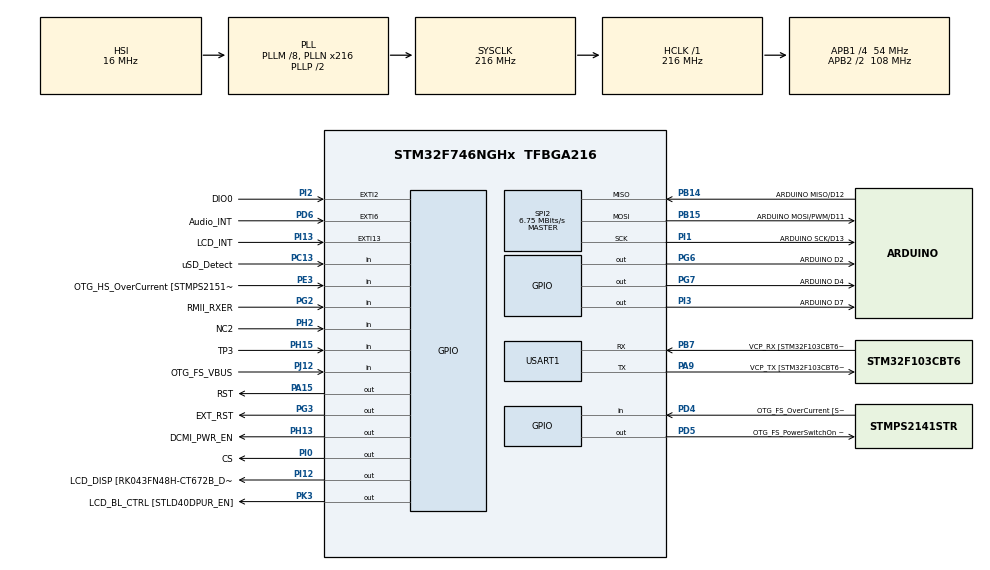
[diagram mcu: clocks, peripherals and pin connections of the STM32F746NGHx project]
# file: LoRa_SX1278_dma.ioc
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Dma.Request0=SPI2_RX
Dma.Request1=SPI2_TX
Dma.SPI2_RX.0.Direction=DMA_PERIPH_TO_MEMORY
Dma.SPI2_RX.0.FIFOMode=DMA_FIFOMODE_DISABLE
Dma.SPI2_RX.0.Instance=DMA1_Stream3
Dma.SPI2_RX.0.MemDataAlignment=DMA_MDATAALIGN_BYTE
Dma.SPI2_RX.0.MemInc=DMA_MINC_ENABLE
Dma.SPI2_RX.0.Mode=DMA_NORMAL
Dma.SPI2_RX.0.PeriphDataAlignment=DMA_PDATAALIGN_BYTE
Dma.SPI2_RX.0.PeriphInc=DMA_PINC_DISABLE
Dma.SPI2_RX.0.Priority=DMA_PRIORITY_LOW
Dma.SPI2_TX.1.Direction=DMA_MEMORY_TO_PERIPH
Dma.SPI2_TX.1.FIFOMode=DMA_FIFOMODE_DISABLE
Dma.SPI2_TX.1.Instance=DMA1_Stream4
Dma.SPI2_TX.1.MemDataAlignment=DMA_MDATAALIGN_BYTE
Dma.SPI2_TX.1.MemInc=DMA_MINC_ENABLE
Dma.SPI2_TX.1.Mode=DMA_NORMAL
Dma.SPI2_TX.1.PeriphDataAlignment=DMA_PDATAALIGN_BYTE
Dma.SPI2_TX.1.PeriphInc=DMA_PINC_DISABLE
Dma.SPI2_TX.1.Priority=DMA_PRIORITY_LOW
Mcu.Family=STM32F7
Mcu.Name=STM32F746NGHx
Mcu.Package=TFBGA216
NVIC.DMA1_Stream3_IRQn=true\:0\:0\:false\:false\:true\:false\:true\:true
NVIC.DMA1_Stream4_IRQn=true\:0\:0\:false\:false\:true\:false\:true\:true
NVIC.EXTI2_IRQn=true\:0\:0\:false\:false\:true\:true\:true\:true
NVIC.PriorityGroup=NVIC_PRIORITYGROUP_4
NVIC.SPI2_IRQn=true\:0\:0\:false\:false\:true\:true\:true\:true
PA0/WKUP.GPIO_Label=ARDUINO A0
PA0/WKUP.GPIO_Mode=GPIO_MODE_ANALOG
PA0/WKUP.GPIO_PuPd=GPIO_NOPULL
PA0/WKUP.Signal=ADCx_IN0
PA1.GPIO_Label=RMII_REF_CLK [LAN8742A-CZ-TR_REFCLK0]
PA1.Signal=ETH_REF_CLK
PA10.GPIO_Label=OTG_FS_ID
PA10.Signal=USB_OTG_FS_ID
PA11.GPIO_Label=OTG_FS_N
PA11.Signal=USB_OTG_FS_DM
PA12.GPIO_Label=OTG_FS_P
PA12.Signal=USB_OTG_FS_DP
PA13.GPIO_Label=SWDIO
PA13.Mode=Serial_Wire
PA13.Signal=SYS_JTMS-SWDIO
PA14.GPIO_Label=SWCLK
PA14.Mode=Serial_Wire
PA14.Signal=SYS_JTCK-SWCLK
PA15.GPIO_Label=RST
PA15.PinState=GPIO_PIN_SET
PA15.Signal=GPIO_Output
PA2.GPIO_Label=RMII_MDIO [LAN8742A-CZ-TR_MDIO]
PA2.Signal=ETH_MDIO
PA3.GPIO_Label=ULPI_D0 [USB3320C-EZK_D0]
PA3.Signal=USB_OTG_HS_ULPI_D0
PA4.GPIO_Label=DCMI_HSYNC
PA4.Signal=DCMI_HSYNC
PA5.GPIO_Label=ULPI_CLK [USB3320C-EZK_CLKOUT]
PA5.Signal=USB_OTG_HS_ULPI_CK
PA6.Signal=DCMI_PIXCLK
PA7.GPIO_Label=RMII_CRS_DV [LAN8742A-CZ-TR_CRS_DV]
PA7.Signal=ETH_CRS_DV
PA8.GPIO_Label=ARDUINO PWM/D10
PA8.GPIO_ModeDefaultPP=GPIO_MODE_AF_PP
PA8.GPIO_PuPd=GPIO_NOPULL
PA8.GPIO_Speed=GPIO_SPEED_FREQ_LOW
PA8.Signal=S_TIM1_CH1
PA9.GPIO_Label=VCP_TX [STM32F103CBT6_PA3]
PA9.GPIO_Mode=GPIO_MODE_AF_PP
PA9.GPIO_PuPd=GPIO_NOPULL
PA9.GPIO_Speed=GPIO_SPEED_FREQ_LOW
PA9.Mode=Asynchronous
PA9.Signal=USART1_TX
PB0.GPIO_Label=ULPI_D1 [USB3320C-EZK_D1]
PB0.Signal=USB_OTG_HS_ULPI_D1
PB1.GPIO_Label=ULPI_D2 [USB3320C-EZK_D2]
PB1.Signal=USB_OTG_HS_ULPI_D2
PB10.GPIO_Label=ULPI_D3 [USB3320C-EZK_D3]
PB10.Signal=USB_OTG_HS_ULPI_D3
PB11.GPIO_Label=ULPI_D4 [USB3320C-EZK_D4]
PB11.Signal=USB_OTG_HS_ULPI_D4
PB12.GPIO_Label=ULPI_D5 [USB3320C-EZK_D5]
PB12.Signal=USB_OTG_HS_ULPI_D5
PB13.GPIO_Label=ULPI_D6 [USB3320C-EZK_D6]
PB13.Signal=USB_OTG_HS_ULPI_D6
PB14.GPIO_Label=ARDUINO MISO/D12
PB14.GPIO_Mode=GPIO_MODE_AF_PP
PB14.GPIO_PuPd=GPIO_NOPULL
PB14.GPIO_Speed=GPIO_SPEED_FREQ_LOW
PB14.Mode=Full_Duplex_Master
PB14.Signal=SPI2_MISO
PB15.GPIO_Label=ARDUINO MOSI/PWM/D11
PB15.GPIO_Mode=GPIO_MODE_AF_PP
PB15.GPIO_PuPd=GPIO_NOPULL
PB15.GPIO_Speed=GPIO_SPEED_FREQ_LOW
PB15.Mode=Full_Duplex_Master
PB15.Signal=SPI2_MOSI
PB2.Signal=QUADSPI_CLK
PB3.GPIO_Label=SWO
PB3.Signal=SYS_JTDO-SWO
PB4.GPIO_Label=ARDUINO PWM/D3
PB4.GPIO_ModeDefaultPP=GPIO_MODE_AF_PP
PB4.GPIO_PuPd=GPIO_NOPULL
PB4.GPIO_Speed=GPIO_SPEED_FREQ_LOW
PB4.Signal=S_TIM3_CH1
PB5.GPIO_Label=ULPI_D7 [USB3320C-EZK_D7]
PB5.Signal=USB_OTG_HS_ULPI_D7
PB6.GPIO_Label=QSPI_NCS [N25Q128A13EF840E_S]
PB6.Signal=QUADSPI_BK1_NCS
PB7.GPIO_Label=VCP_RX [STM32F103CBT6_PA2]
PB7.GPIO_Mode=GPIO_MODE_AF_PP
PB7.GPIO_PuPd=GPIO_NOPULL
PB7.GPIO_Speed=GPIO_SPEED_FREQ_LOW
PB7.Mode=Asynchronous
PB7.Signal=USART1_RX
PB8.GPIO_Label=ARDUINO SCL/D15
PB8.GPIO_Mode=GPIO_MODE_AF_OD
PB8.GPIO_PuPd=GPIO_NOPULL
PB8.GPIO_Speed=GPIO_SPEED_FREQ_LOW
PB8.Signal=I2C1_SCL
PB9.GPIO_Label=ARDUINO SDA/D14
PB9.GPIO_Mode=GPIO_MODE_AF_OD
PB9.GPIO_PuPd=GPIO_NOPULL
PB9.GPIO_Speed=GPIO_SPEED_FREQ_LOW
PB9.Signal=I2C1_SDA
PC0.GPIO_Label=ULPI_STP [USB3320C-EZK_STP]
PC0.Signal=USB_OTG_HS_ULPI_STP
PC1.GPIO_Label=RMII_MDC [LAN8742A-CZ-TR_MDC]
PC1.Signal=ETH_MDC
PC10.GPIO_Label=SDMMC_D2
PC10.Signal=SDMMC1_D2
PC11.GPIO_Label=SDMMC_D3
PC11.Signal=SDMMC1_D3
PC12.GPIO_Label=SDMMC_CK
PC12.Signal=SDMMC1_CK
PC13.GPIO_Label=uSD_Detect
PC13.Signal=GPIO_Input
PC14/OSC32_IN.GPIO_Label=RCC_OSC32_IN
PC14/OSC32_IN.Mode=LSE-External-Oscillator
PC14/OSC32_IN.Signal=RCC_OSC32_IN
PC15/OSC32_OUT.GPIO_Label=RCC_OSC32_OUT
PC15/OSC32_OUT.Mode=LSE-External-Oscillator
PC15/OSC32_OUT.Signal=RCC_OSC32_OUT
PC2.GPIO_Label=ULPI_DIR [USB3320C-EZK_DIR]
PC2.Signal=USB_OTG_HS_ULPI_DIR
PC3.GPIO_Label=FMC_SDCKE0 [MT48LC4M32B2B5-6A_CKE]
PC3.Signal=FMC_SDCKE0
PC4.GPIO_Label=RMII_RXD0 [LAN8742A-CZ-TR_RXD0]
PC4.Signal=ETH_RXD0
PC5.GPIO_Label=RMII_RXD1 [LAN8742A-CZ-TR_RXD1]
PC5.Signal=ETH_RXD1
PC6.GPIO_Label=ARDUINO TX/D1
PC6.Signal=USART6_TX
PC7.GPIO_Label=ARDUINO RX/D0
PC7.Signal=USART6_RX
PC8.Signal=SDMMC1_D0
PC9.Signal=SDMMC1_D1
PD0.GPIO_Label=FMC_D2 [MT48LC4M32B2B5-6A_DQ2]
PD0.Signal=FMC_D2_DA2
PD1.GPIO_Label=FMC_D3 [MT48LC4M32B2B5-6A_DQ3]
PD1.Signal=FMC_D3_DA3
PD10.GPIO_Label=FMC_D15 [MT48LC4M32B2B5-6A_DQ15]
PD10.Signal=FMC_D15_DA15
PD11.GPIO_Label=QSPI_D0 [N25Q128A13EF840E_DQ0]
PD11.Signal=QUADSPI_BK1_IO0
PD12.GPIO_Label=QSPI_D1 [N25Q128A13EF840E_DQ1]
PD12.Signal=QUADSPI_BK1_IO1
PD13.GPIO_Label=QSPI_D3 [N25Q128A13EF840E_DQ3]
PD13.Signal=QUADSPI_BK1_IO3
PD14.GPIO_Label=FMC_D0 [MT48LC4M32B2B5-6A_DQ0]
PD14.Signal=FMC_D0_DA0
PD15.GPIO_Label=FMC_D1 [MT48LC4M32B2B5-6A_DQ1]
PD15.Signal=FMC_D1_DA1
PD2.GPIO_Label=SDMMC_D0
PD2.Signal=SDMMC1_CMD
PD3.GPIO_Label=DCMI_D5
PD3.Signal=DCMI_D5
PD4.GPIO_Label=OTG_FS_OverCurrent [STMPS2141STR_Fault]
PD4.Signal=GPIO_Input
PD5.GPIO_Label=OTG_FS_PowerSwitchOn [STMPS2141STR_EN]
PD5.PinState=GPIO_PIN_SET
PD5.Signal=GPIO_Output
PD6.GPIO_Label=Audio_INT
PD6.GPIO_ModeDefaultEXTI=GPIO_MODE_EVT_RISING
PD6.Signal=GPXTI6
PD7.GPIO_Label=SPDIF_RX0 [74LVC1G04SE_4]
PD7.Signal=SPDIFRX_IN0
PD8.GPIO_Label=FMC_D13 [MT48LC4M32B2B5-6A_DQ13]
PD8.Signal=FMC_D13_DA13
PD9.GPIO_Label=FMC_D14 [MT48LC4M32B2B5-6A_DQ14]
PD9.Signal=FMC_D14_DA14
PE0.GPIO_Label=FMC_NBL0 [MT48LC4M32B2B5-6A_DQM0]
PE0.Signal=FMC_NBL0
PE1.GPIO_Label=FMC_NBL1 [MT48LC4M32B2B5-6A_DQM1]
PE1.Signal=FMC_NBL1
PE10.GPIO_Label=FMC_D7 [MT48LC4M32B2B5-6A_DQ7]
PE10.Signal=FMC_D7_DA7
PE11.GPIO_Label=FMC_D8 [MT48LC4M32B2B5-6A_DQ8]
PE11.Signal=FMC_D8_DA8
PE12.GPIO_Label=FMC_D9 [MT48LC4M32B2B5-6A_DQ9]
PE12.Signal=FMC_D9_DA9
PE13.GPIO_Label=FMC_D10 [MT48LC4M32B2B5-6A_DQ10]
PE13.Signal=FMC_D10_DA10
PE14.GPIO_Label=FMC_D11 [MT48LC4M32B2B5-6A_DQ11]
PE14.Signal=FMC_D11_DA11
PE15.GPIO_Label=FMC_D12 [MT48LC4M32B2B5-6A_DQ12]
PE15.Signal=FMC_D12_DA12
PE2.GPIO_Label=QSPI_D2 [N25Q128A13EF840E_DQ2]
PE2.Signal=QUADSPI_BK1_IO2
PE3.GPIO_Label=OTG_HS_OverCurrent [STMPS2151STR_FAULT]
PE3.Signal=GPIO_Input
PE4.GPIO_Label=LCD_B0 [RK043FN48H-CT672B_B0]
PE4.Signal=LTDC_B0
PE5.GPIO_Label=DCMI_D6
PE5.Signal=DCMI_D6
PE6.GPIO_Label=DCMI_D7
PE6.Signal=DCMI_D7
PE7.GPIO_Label=FMC_D4 [MT48LC4M32B2B5-6A_DQ4]
PE7.Signal=FMC_D4_DA4
PE8.GPIO_Label=FMC_D5 [MT48LC4M32B2B5-6A_DQ5]
PE8.Signal=FMC_D5_DA5
PE9.GPIO_Label=FMC_D6 [MT48LC4M32B2B5-6A_DQ6]
PE9.Signal=FMC_D6_DA6
PF0.GPIO_Label=FMC_A0 [MT48LC4M32B2B5-6A_A0]
PF0.Signal=FMC_A0
PF1.GPIO_Label=FMC_A1 [MT48LC4M32B2B5-6A_A1]
PF1.Signal=FMC_A1
PF10.GPIO_Label=ARDUINO A1
PF10.GPIO_Mode=GPIO_MODE_ANALOG
PF10.GPIO_PuPd=GPIO_NOPULL
PF10.Signal=ADC3_IN8
PF11.GPIO_Label=FMC_SDNRAS [MT48LC4M32B2B5-6A_RAS]
PF11.Signal=FMC_SDNRAS
PF12.GPIO_Label=FMC_A6 [MT48LC4M32B2B5-6A_A6]
PF12.Signal=FMC_A6
PF13.GPIO_Label=FMC_A7 [MT48LC4M32B2B5-6A_A7]
PF13.Signal=FMC_A7
PF14.GPIO_Label=FMC_A8 [MT48LC4M32B2B5-6A_A8]
PF14.Signal=FMC_A8
PF15.GPIO_Label=FMC_A9 [MT48LC4M32B2B5-6A_A9]
PF15.Signal=FMC_A9
PF2.GPIO_Label=FMC_A2 [MT48LC4M32B2B5-6A_A2]
PF2.Signal=FMC_A2
PF3.GPIO_Label=FMC_A3 [MT48LC4M32B2B5-6A_A3]
PF3.Signal=FMC_A3
PF4.GPIO_Label=FMC_A4 [MT48LC4M32B2B5-6A_A4]
PF4.Signal=FMC_A4
PF5.GPIO_Label=FMC_A5 [MT48LC4M32B2B5-6A_A5]
PF5.Signal=FMC_A5
PF6.GPIO_Label=ARDUINO A5
PF6.GPIO_Mode=GPIO_MODE_ANALOG
PF6.GPIO_PuPd=GPIO_NOPULL
PF6.Signal=ADC3_IN4
PF7.GPIO_Label=ARDUINO A4
PF7.GPIO_Mode=GPIO_MODE_ANALOG
PF7.GPIO_PuPd=GPIO_NOPULL
PF7.Signal=ADC3_IN5
PF8.GPIO_Label=ARDUINO A3
PF8.GPIO_Mode=GPIO_MODE_ANALOG
PF8.GPIO_PuPd=GPIO_NOPULL
PF8.Signal=ADC3_IN6
PF9.GPIO_Label=ARDUINO A2
PF9.GPIO_Mode=GPIO_MODE_ANALOG
PF9.GPIO_PuPd=GPIO_NOPULL
PF9.Signal=ADC3_IN7
PG0.GPIO_Label=FMC_A10 [MT48LC4M32B2B5-6A_A10]
PG0.Signal=FMC_A10
PG1.GPIO_Label=FMC_A11 [MT48LC4M32B2B5-6A_A11]
PG1.Signal=FMC_A11
PG10.GPIO_Label=SAI2_SDB [WM8994ECS/R_ADCDAT1]
PG10.Signal=SAI2_SD_B
PG11.GPIO_Label=RMII_TX_EN [LAN8742A-CZ-TR_TXEN]
PG11.Signal=ETH_TX_EN
PG12.GPIO_Label=LCD_B4 [RK043FN48H-CT672B_B4]
PG12.Signal=LTDC_B4
PG13.GPIO_Label=RMII_TXD0 [LAN8742A-CZ-TR_TXD0]
PG13.Signal=ETH_TXD0
PG14.GPIO_Label=RMII_TXD1 [LAN8742A-CZ-TR_TXD1]
PG14.Signal=ETH_TXD1
PG15.GPIO_Label=FMC_SDNCAS [MT48LC4M32B2B5-6A_CAS]
PG15.Signal=FMC_SDNCAS
PG2.GPIO_Label=RMII_RXER
PG2.Signal=GPIO_Input
PG3.GPIO_Label=EXT_RST
PG3.Signal=GPIO_Output
PG4.GPIO_Label=FMC_BA0 [MT48LC4M32B2B5-6A_BA0]
PG4.Signal=FMC_A14_BA0
PG5.GPIO_Label=FMC_BA1 [MT48LC4M32B2B5-6A_BA1]
PG5.Signal=FMC_A15_BA1
PG6.GPIO_Label=ARDUINO D2
PG6.Signal=GPIO_Output
PG7.GPIO_Label=ARDUINO D4
PG7.Signal=GPIO_Output
PG8.GPIO_Label=FMC_SDCLK [MT48LC4M32B2B5-6A_CLK]
PG8.Signal=FMC_SDCLK
PG9.GPIO_Label=DCMI_VSYNC
PG9.Signal=DCMI_VSYNC
PH0/OSC_IN.GPIO_Label=OSC_25M [NZ2520SB-25.00M_OUT]
PH0/OSC_IN.Mode=HSE-External-Oscillator
PH0/OSC_IN.Signal=RCC_OSC_IN
PH1/OSC_OUT.Mode=HSE-External-Oscillator
PH1/OSC_OUT.Signal=RCC_OSC_OUT
PH10.GPIO_Label=DCMI_D1
PH10.Signal=DCMI_D1
PH11.GPIO_Label=DCMI_D2
PH11.Signal=DCMI_D2
PH12.GPIO_Label=DCMI_D3
PH12.Signal=DCMI_D3
PH13.GPIO_Label=DCMI_PWR_EN
PH13.Signal=GPIO_Output
PH14.GPIO_Label=DCMI_D4
PH14.Signal=DCMI_D4
PH15.GPIO_Label=TP3
PH15.Signal=GPIO_Input
PH2.GPIO_Label=NC2
PH2.Signal=GPIO_Input
PH3.GPIO_Label=FMC_SDNE0 [MT48LC4M32B2B5-6A_CS]
PH3.Signal=FMC_SDNE0
PH4.GPIO_Label=ULPI_NXT [USB3320C-EZK_NXT]
PH4.Signal=USB_OTG_HS_ULPI_NXT
PH5.GPIO_Label=FMC_SDNME [MT48LC4M32B2B5-6A_WE]
PH5.Signal=FMC_SDNWE
PH6.GPIO_Label=ARDUINO PWM/D6
PH6.Signal=S_TIM12_CH1
PH7.GPIO_Label=LCD_SCL [RK043FN48H-CT672B_SCL]
PH7.Signal=I2C3_SCL
PH8.GPIO_Label=LCD_SDA [RK043FN48H-CT672B_SDA]
PH8.Signal=I2C3_SDA
PH9.GPIO_Label=DCMI_D0
PH9.Signal=DCMI_D0
PI0.GPIO_Label=CS
PI0.PinState=GPIO_PIN_SET
PI0.Signal=GPIO_Output
PI1.GPIO_Label=ARDUINO SCK/D13
PI1.GPIO_Mode=GPIO_MODE_AF_PP
PI1.GPIO_PuPd=GPIO_NOPULL
PI1.GPIO_Speed=GPIO_SPEED_FREQ_LOW
PI1.Mode=Full_Duplex_Master
PI1.Signal=SPI2_SCK
PI10.GPIO_Label=LCD_HSYNC [RK043FN48H-CT672B_HSYNC]
PI10.Signal=LTDC_HSYNC
PI12.GPIO_Label=LCD_DISP [RK043FN48H-CT672B_DISP] 
PI12.Signal=GPIO_Output
PI13.GPIO_Label=LCD_INT
PI13.GPIO_ModeDefaultEXTI=GPIO_MODE_EVT_RISING
PI13.Signal=GPXTI13
PI14.GPIO_Label=LCD_CLK [RK043FN48H-CT672B_CLK]
PI14.Signal=LTDC_CLK
PI15.GPIO_Label=LCD_R0 [RK043FN48H-CT672B_R0]
PI15.Signal=LTDC_R0
PI2.GPIO_Label=DIO0
PI2.Signal=GPXTI2
PI3.GPIO_Label=ARDUINO D7
PI3.PinState=GPIO_PIN_RESET
PI3.Signal=GPIO_Output
PI4.GPIO_Label=SAI2_MCLKA [WM8994ECS/R_MCLK1]
PI4.Signal=SAI2_MCLK_A
PI5.GPIO_Label=SAI2_SCKA [WM8994ECS/R_BCLK1]
PI5.Signal=SAI2_SCK_A
PI6.GPIO_Label=SAI2_SDA [WM8994ECS/R_DACDAT1]
PI6.Signal=SAI2_SD_A
PI7.GPIO_Label=SAI2_FSA [WM8994ECS/R_LRCLK1]
PI7.Signal=SAI2_FS_A
PI8.GPIO_Label=NC1 [TP2]
PI8.Signal=RTC_TS
PI9.GPIO_Label=LCD_VSYNC [RK043FN48H-CT672B_VSYNC]
PI9.Signal=LTDC_VSYNC
PJ0.GPIO_Label=LCD_R1 [RK043FN48H-CT672B_R1]
PJ0.Signal=LTDC_R1
PJ1.GPIO_Label=LCD_R2 [RK043FN48H-CT672B_R2]
PJ1.Signal=LTDC_R2
PJ10.GPIO_Label=LCD_G3 [RK043FN48H-CT672B_G3]
PJ10.Signal=LTDC_G3
PJ11.GPIO_Label=LCD_G4 [RK043FN48H-CT672B_G4]
PJ11.Signal=LTDC_G4
PJ12.GPIO_Label=OTG_FS_VBUS
PJ12.Signal=GPIO_Input
PJ13.GPIO_Label=LCD_B1 [RK043FN48H-CT672B_B1]
PJ13.Signal=LTDC_B1
PJ14.GPIO_Label=LCD_B2 [RK043FN48H-CT672B_B2]
PJ14.Signal=LTDC_B2
PJ15.GPIO_Label=LCD_B3 [RK043FN48H-CT672B_B3]
PJ15.Signal=LTDC_B3
PJ2.GPIO_Label=LCD_R3 [RK043FN48H-CT672B_R3]
PJ2.Signal=LTDC_R3
PJ3.GPIO_Label=LCD_R4 [RK043FN48H-CT672B_R4]
PJ3.Signal=LTDC_R4
PJ4.GPIO_Label=LCD_R5 [RK043FN48H-CT672B_R5]
PJ4.Signal=LTDC_R5
PJ5.GPIO_Label=LCD_R6 [RK043FN48H-CT672B_R6]
PJ5.Signal=LTDC_R6
PJ6.GPIO_Label=LCD_R7 [RK043FN48H-CT672B_R7]
PJ6.Signal=LTDC_R7
PJ7.GPIO_Label=LCD_G0 [RK043FN48H-CT672B_G0]
PJ7.Signal=LTDC_G0
PJ8.GPIO_Label=LCD_G1 [RK043FN48H-CT672B_G1]
PJ8.Signal=LTDC_G1
PJ9.GPIO_Label=LCD_G2 [RK043FN48H-CT672B_G2]
PJ9.Signal=LTDC_G2
PK0.GPIO_Label=LCD_G5 [RK043FN48H-CT672B_G5]
PK0.Signal=LTDC_G5
PK1.GPIO_Label=LCD_G6 [RK043FN48H-CT672B_G6]
PK1.Signal=LTDC_G6
PK2.GPIO_Label=LCD_G7 [RK043FN48H-CT672B_G7]
PK2.Signal=LTDC_G7
PK3.GPIO_Label=LCD_BL_CTRL [STLD40DPUR_EN]
PK3.Signal=GPIO_Output
PK4.GPIO_Label=LCD_B5 [RK043FN48H-CT672B_B5]
PK4.Signal=LTDC_B5
PK5.GPIO_Label=LCD_B6 [RK043FN48H-CT672B_B6]
PK5.Signal=LTDC_B6
PK6.GPIO_Label=LCD_B7 [RK043FN48H-CT672B_B7]
PK6.Signal=LTDC_B7
PK7.GPIO_Label=LCD_DE [RK043FN48H-CT672B_DE]
PK7.Signal=LTDC_DE
ProjectManager.HeapSize=0x200
ProjectManager.StackSize=0x400
ProjectManager.TargetToolchain=STM32CubeIDE
RCC.AHBFreq_Value=216000000
RCC.APB1CLKDivider=RCC_HCLK_DIV4
RCC.APB1Freq_Value=54000000
RCC.APB1TimFreq_Value=108000000
RCC.APB2CLKDivider=RCC_HCLK_DIV2
RCC.APB2Freq_Value=108000000
RCC.APB2TimFreq_Value=216000000
RCC.CortexFreq_Value=216000000
RCC.HCLKFreq_Value=216000000
RCC.HSE_VALUE=25000000
RCC.HSI_VALUE=16000000
RCC.PLLM=8
RCC.PLLN=216
RCC.PLLSourceVirtual=RCC_PLLSOURCE_HSI
RCC.SYSCLKFreq_VALUE=216000000
RCC.SYSCLKSource=RCC_SYSCLKSOURCE_PLLCLK
RCC.USBFreq_Value=216000000
RCC.VCOOutputFreq_Value=432000000
SH.ADCx_IN0.0=ADC3_IN0
SH.FMC_A0.0=FMC_A0
SH.FMC_A1.0=FMC_A1
SH.FMC_A10.0=FMC_A10
SH.FMC_A11.0=FMC_A11
SH.FMC_A14_BA0.0=FMC_BA0
SH.FMC_A15_BA1.0=FMC_BA1
SH.FMC_A2.0=FMC_A2
SH.FMC_A3.0=FMC_A3
SH.FMC_A4.0=FMC_A4
SH.FMC_A5.0=FMC_A5
SH.FMC_A6.0=FMC_A6
SH.FMC_A7.0=FMC_A7
SH.FMC_A8.0=FMC_A8
SH.FMC_A9.0=FMC_A9
SH.FMC_D0_DA0.0=FMC_D0
SH.FMC_D10_DA10.0=FMC_D10
SH.FMC_D11_DA11.0=FMC_D11
SH.FMC_D12_DA12.0=FMC_D12
SH.FMC_D13_DA13.0=FMC_D13
SH.FMC_D14_DA14.0=FMC_D14
SH.FMC_D15_DA15.0=FMC_D15
SH.FMC_D1_DA1.0=FMC_D1
SH.FMC_D2_DA2.0=FMC_D2
SH.FMC_D3_DA3.0=FMC_D3
SH.FMC_D4_DA4.0=FMC_D4
SH.FMC_D5_DA5.0=FMC_D5
SH.FMC_D6_DA6.0=FMC_D6
SH.FMC_D7_DA7.0=FMC_D7
SH.FMC_D8_DA8.0=FMC_D8
SH.FMC_D9_DA9.0=FMC_D9
SH.FMC_NBL0.0=FMC_NBL0
SH.FMC_NBL1.0=FMC_NBL1
SH.FMC_SDCLK.0=FMC_SDCLK
SH.FMC_SDNCAS.0=FMC_SDNCAS
SH.FMC_SDNRAS.0=FMC_SDNRAS
SH.FMC_SDNWE.0=FMC_SDNWE
SH.S_TIM12_CH1.0=TIM12_CH1
SH.S_TIM1_CH1.0=TIM1_CH1
SH.S_TIM3_CH1.0=TIM3_CH1
SPI2.BaudRatePrescaler=SPI_BAUDRATEPRESCALER_8
SPI2.CalculateBaudRate=6.75 MBits/s
SPI2.DataSize=SPI_DATASIZE_8BIT
SPI2.Direction=SPI_DIRECTION_2LINES
SPI2.Mode=SPI_MODE_MASTER
SPI2.NSSPMode=SPI_NSS_PULSE_DISABLE
SPI2.VirtualType=VM_MASTER
USART1.VirtualMode-Asynchronous=VM_ASYNC
board=STM32F746G-DISCO

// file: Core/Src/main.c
/* USER CODE BEGIN Header */
/**
  ******************************************************************************
  * @file           : main.c
  * @brief          : Main program body
  ******************************************************************************
  * @attention
  *
  * Copyright (c) 2025 STMicroelectronics.
  * All rights reserved.
  *
  * This software is licensed under terms that can be found in the LICENSE file
  * in the root directory of this software component.
  * If no LICENSE file comes with this software, it is provided AS-IS.
  *
  ******************************************************************************
  */
/* USER CODE END Header */
#include "main.h"
#include "LoRa_dma.h"
#include <stdio.h>
#include <string.h>

SPI_HandleTypeDef hspi2;
DMA_HandleTypeDef hdma_spi2_rx;
DMA_HandleTypeDef hdma_spi2_tx;

UART_HandleTypeDef huart1;

/* USER CODE BEGIN PV */
int __io_putchar(int ch){
	uint8_t c = (uint8_t)ch;
	HAL_UART_Transmit(&huart1, &c, 1, HAL_MAX_DELAY);
	return ch;
}
int fputc(int ch, FILE *f){
	return __io_putchar(ch);
}
//static void my_tx_done_cb(void) {
//  const char *msg = "LoRa: SPI transfer finished (callback)\r\n";
//  HAL_UART_Transmit(&huart1, (uint8_t*)msg, strlen(msg), HAL_MAX_DELAY);
//}
//static void my_rx_ready_cb(uint8_t *buf, uint16_t len) {
//  char info[64];
//  int n = snprintf(info, sizeof(info), "LoRa: RX ready, len=%u\r\n", (unsigned)len);
//  HAL_UART_Transmit(&huart1, (uint8_t*)info, n, HAL_MAX_DELAY);
//  // further parse payload...
//}
/* USER CODE END PV */

void SystemClock_Config(void);
static void MX_GPIO_Init(void);
static void MX_DMA_Init(void);
static void MX_SPI2_Init(void);
static void MX_USART1_UART_Init(void);

int main(void)
{

  /* MCU Configuration--------------------------------------------------------*/

  /* Reset of all peripherals, Initializes the Flash interface and the Systick. */
  HAL_Init();

  /* Configure the system clock */
  SystemClock_Config();

  /* Initialize all configured peripherals */
  MX_GPIO_Init();
  MX_DMA_Init();
  MX_SPI2_Init();
  MX_USART1_UART_Init();
  /* USER CODE BEGIN 2 */
  printf("LoRa DMA test starting...\r\n");
  /* ensure CS high idle */
  HAL_GPIO_WritePin(LORA_NSS_GPIO_Port, LORA_NSS_Pin, GPIO_PIN_SET);
  /* ensure RST high */
  HAL_GPIO_WritePin(LORA_RST_GPIO_Port, LORA_RST_Pin, GPIO_PIN_SET);

  if (LoRa_Init() != 0) {
	  printf("LoRa init failed\r\n");
	  while (1) { HAL_Delay(1000); }
  }
  printf("LoRa init OK\r\n");

  LoRa_SetFrequency(433000000); /* 433 MHz */

  /* Prepare demo payload */
  uint8_t payload[] = "G";
  if (LoRa_Transmit_DMA(payload, 1, 3000) == 0) {
	  printf("Transmitted 'G' OK\r\n");
  } else {
	  printf("Transmission failed\r\n");
  }
  uint8_t rxbuf[256];

  /* USER CODE END 2 */

  /* Infinite loop */
  while (1)
  {
	  if (LoRa_receive_ready()) {
		  int r = LoRa_read_payload(rxbuf, (uint8_t)sizeof(rxbuf));
		  if (r > 0) {
			  rxbuf[r] = 0;
			  printf("Received %d bytes: '%s'\r\n", r, rxbuf);
		  } else {
			  printf("Read payload error %d\r\n", r);
		  }
	  }
	  HAL_Delay(50);
  }
}

void SystemClock_Config(void)
{
  RCC_OscInitTypeDef RCC_OscInitStruct = {0};
  RCC_ClkInitTypeDef RCC_ClkInitStruct = {0};

  /** Configure LSE Drive Capability
  */
  HAL_PWR_EnableBkUpAccess();

  /** Configure the main internal regulator output voltage
  */
  __HAL_RCC_PWR_CLK_ENABLE();
  __HAL_PWR_VOLTAGESCALING_CONFIG(PWR_REGULATOR_VOLTAGE_SCALE1);

  /** Initializes the RCC Oscillators according to the specified parameters
  * in the RCC_OscInitTypeDef structure.
  */
  RCC_OscInitStruct.OscillatorType = RCC_OSCILLATORTYPE_HSI;
  RCC_OscInitStruct.HSIState = RCC_HSI_ON;
  RCC_OscInitStruct.HSICalibrationValue = RCC_HSICALIBRATION_DEFAULT;
  RCC_OscInitStruct.PLL.PLLState = RCC_PLL_ON;
  RCC_OscInitStruct.PLL.PLLSource = RCC_PLLSOURCE_HSI;
  RCC_OscInitStruct.PLL.PLLM = 8;
  RCC_OscInitStruct.PLL.PLLN = 216;
  RCC_OscInitStruct.PLL.PLLP = RCC_PLLP_DIV2;
  RCC_OscInitStruct.PLL.PLLQ = 2;
  if (HAL_RCC_OscConfig(&RCC_OscInitStruct) != HAL_OK)
  {
    Error_Handler();
  }

  /** Activate the Over-Drive mode
  */
  if (HAL_PWREx_EnableOverDrive() != HAL_OK)
  {
    Error_Handler();
  }

  /** Initializes the CPU, AHB and APB buses clocks
  */
  RCC_ClkInitStruct.ClockType = RCC_CLOCKTYPE_HCLK|RCC_CLOCKTYPE_SYSCLK
                              |RCC_CLOCKTYPE_PCLK1|RCC_CLOCKTYPE_PCLK2;
  RCC_ClkInitStruct.SYSCLKSource = RCC_SYSCLKSOURCE_PLLCLK;
  RCC_ClkInitStruct.AHBCLKDivider = RCC_SYSCLK_DIV1;
  RCC_ClkInitStruct.APB1CLKDivider = RCC_HCLK_DIV4;
  RCC_ClkInitStruct.APB2CLKDivider = RCC_HCLK_DIV2;

  if (HAL_RCC_ClockConfig(&RCC_ClkInitStruct, FLASH_LATENCY_7) != HAL_OK)
  {
    Error_Handler();
  }
}

static void MX_SPI2_Init(void)
{

  /* SPI2 parameter configuration*/
  hspi2.Instance = SPI2;
  hspi2.Init.Mode = SPI_MODE_MASTER;
  hspi2.Init.Direction = SPI_DIRECTION_2LINES;
  hspi2.Init.DataSize = SPI_DATASIZE_8BIT;
  hspi2.Init.CLKPolarity = SPI_POLARITY_LOW;
  hspi2.Init.CLKPhase = SPI_PHASE_1EDGE;
  hspi2.Init.NSS = SPI_NSS_SOFT;
  hspi2.Init.BaudRatePrescaler = SPI_BAUDRATEPRESCALER_8;
  hspi2.Init.FirstBit = SPI_FIRSTBIT_MSB;
  hspi2.Init.TIMode = SPI_TIMODE_DISABLE;
  hspi2.Init.CRCCalculation = SPI_CRCCALCULATION_DISABLE;
  hspi2.Init.CRCPolynomial = 7;
  hspi2.Init.CRCLength = SPI_CRC_LENGTH_DATASIZE;
  hspi2.Init.NSSPMode = SPI_NSS_PULSE_DISABLE;
  if (HAL_SPI_Init(&hspi2) != HAL_OK)
  {
    Error_Handler();
  }

}

static void MX_USART1_UART_Init(void)
{

  huart1.Instance = USART1;
  huart1.Init.BaudRate = 115200;
  huart1.Init.WordLength = UART_WORDLENGTH_8B;
  huart1.Init.StopBits = UART_STOPBITS_1;
  huart1.Init.Parity = UART_PARITY_NONE;
  huart1.Init.Mode = UART_MODE_TX_RX;
  huart1.Init.HwFlowCtl = UART_HWCONTROL_NONE;
  huart1.Init.OverSampling = UART_OVERSAMPLING_16;
  huart1.Init.OneBitSampling = UART_ONE_BIT_SAMPLE_DISABLE;
  huart1.AdvancedInit.AdvFeatureInit = UART_ADVFEATURE_NO_INIT;
  if (HAL_UART_Init(&huart1) != HAL_OK)
  {
    Error_Handler();
  }

}

static void MX_DMA_Init(void)
{

  /* DMA controller clock enable */
  __HAL_RCC_DMA1_CLK_ENABLE();

  /* DMA interrupt init */
  /* DMA1_Stream3_IRQn interrupt configuration */
  HAL_NVIC_SetPriority(DMA1_Stream3_IRQn, 0, 0);
  HAL_NVIC_EnableIRQ(DMA1_Stream3_IRQn);
  /* DMA1_Stream4_IRQn interrupt configuration */
  HAL_NVIC_SetPriority(DMA1_Stream4_IRQn, 0, 0);
  HAL_NVIC_EnableIRQ(DMA1_Stream4_IRQn);

}

static void MX_GPIO_Init(void)
{
  GPIO_InitTypeDef GPIO_InitStruct = {0};

  /* GPIO Ports Clock Enable */
  __HAL_RCC_GPIOE_CLK_ENABLE();
  __HAL_RCC_GPIOG_CLK_ENABLE();
  __HAL_RCC_GPIOB_CLK_ENABLE();
  __HAL_RCC_GPIOD_CLK_ENABLE();
  __HAL_RCC_GPIOC_CLK_ENABLE();
  __HAL_RCC_GPIOA_CLK_ENABLE();
  __HAL_RCC_GPIOJ_CLK_ENABLE();
  __HAL_RCC_GPIOI_CLK_ENABLE();
  __HAL_RCC_GPIOK_CLK_ENABLE();
  __HAL_RCC_GPIOF_CLK_ENABLE();
  __HAL_RCC_GPIOH_CLK_ENABLE();

  /*Configure GPIO pin Output Level */
  HAL_GPIO_WritePin(RST_GPIO_Port, RST_Pin, GPIO_PIN_SET);

  /*Configure GPIO pin Output Level */
  HAL_GPIO_WritePin(OTG_FS_PowerSwitchOn_GPIO_Port, OTG_FS_PowerSwitchOn_Pin, GPIO_PIN_SET);

  /*Configure GPIO pin Output Level */
  HAL_GPIO_WritePin(GPIOI, ARDUINO_D7_Pin|LCD_DISP_Pin, GPIO_PIN_RESET);

  /*Configure GPIO pin Output Level */
  HAL_GPIO_WritePin(LCD_BL_CTRL_GPIO_Port, LCD_BL_CTRL_Pin, GPIO_PIN_RESET);

  /*Configure GPIO pin Output Level */
  HAL_GPIO_WritePin(DCMI_PWR_EN_GPIO_Port, DCMI_PWR_EN_Pin, GPIO_PIN_RESET);

  /*Configure GPIO pin Output Level */
  HAL_GPIO_WritePin(CS_GPIO_Port, CS_Pin, GPIO_PIN_SET);

  /*Configure GPIO pin Output Level */
  HAL_GPIO_WritePin(GPIOG, ARDUINO_D4_Pin|ARDUINO_D2_Pin|EXT_RST_Pin, GPIO_PIN_RESET);

  /*Configure GPIO pin : LCD_B0_Pin */
  GPIO_InitStruct.Pin = LCD_B0_Pin;
  GPIO_InitStruct.Mode = GPIO_MODE_AF_PP;
  GPIO_InitStruct.Pull = GPIO_NOPULL;
  GPIO_InitStruct.Speed = GPIO_SPEED_FREQ_LOW;
  GPIO_InitStruct.Alternate = GPIO_AF14_LTDC;
  HAL_GPIO_Init(LCD_B0_GPIO_Port, &GPIO_InitStruct);

  /*Configure GPIO pin : OTG_HS_OverCurrent_Pin */
  GPIO_InitStruct.Pin = OTG_HS_OverCurrent_Pin;
  GPIO_InitStruct.Mode = GPIO_MODE_INPUT;
  GPIO_InitStruct.Pull = GPIO_NOPULL;
  HAL_GPIO_Init(OTG_HS_OverCurrent_GPIO_Port, &GPIO_InitStruct);

  /*Configure GPIO pin : QSPI_D2_Pin */
  GPIO_InitStruct.Pin = QSPI_D2_Pin;
  GPIO_InitStruct.Mode = GPIO_MODE_AF_PP;
  GPIO_InitStruct.Pull = GPIO_NOPULL;
  GPIO_InitStruct.Speed = GPIO_SPEED_FREQ_VERY_HIGH;
  GPIO_InitStruct.Alternate = GPIO_AF9_QUADSPI;
  HAL_GPIO_Init(QSPI_D2_GPIO_Port, &GPIO_InitStruct);

  /*Configure GPIO pins : RMII_TXD1_Pin RMII_TXD0_Pin RMII_TX_EN_Pin */
  GPIO_InitStruct.Pin = RMII_TXD1_Pin|RMII_TXD0_Pin|RMII_TX_EN_Pin;
  GPIO_InitStruct.Mode = GPIO_MODE_AF_PP;
  GPIO_InitStruct.Pull = GPIO_NOPULL;
  GPIO_InitStruct.Speed = GPIO_SPEED_FREQ_VERY_HIGH;
  GPIO_InitStruct.Alternate = GPIO_AF11_ETH;
  HAL_GPIO_Init(GPIOG, &GPIO_InitStruct);

  /*Configure GPIO pins : FMC_NBL1_Pin FMC_NBL0_Pin FMC_D5_Pin FMC_D6_Pin
                           FMC_D8_Pin FMC_D11_Pin FMC_D4_Pin FMC_D7_Pin
                           FMC_D9_Pin FMC_D12_Pin FMC_D10_Pin */
  GPIO_InitStruct.Pin = FMC_NBL1_Pin|FMC_NBL0_Pin|FMC_D5_Pin|FMC_D6_Pin
                          |FMC_D8_Pin|FMC_D11_Pin|FMC_D4_Pin|FMC_D7_Pin
                          |FMC_D9_Pin|FMC_D12_Pin|FMC_D10_Pin;
  GPIO_InitStruct.Mode = GPIO_MODE_AF_PP;
  GPIO_InitStruct.Pull = GPIO_NOPULL;
  GPIO_InitStruct.Speed = GPIO_SPEED_FREQ_VERY_HIGH;
  GPIO_InitStruct.Alternate = GPIO_AF12_FMC;
  HAL_GPIO_Init(GPIOE, &GPIO_InitStruct);

  /*Configure GPIO pins : ARDUINO_SCL_D15_Pin ARDUINO_SDA_D14_Pin */
  GPIO_InitStruct.Pin = ARDUINO_SCL_D15_Pin|ARDUINO_SDA_D14_Pin;
  GPIO_InitStruct.Mode = GPIO_MODE_AF_OD;
  GPIO_InitStruct.Pull = GPIO_NOPULL;
  GPIO_InitStruct.Speed = GPIO_SPEED_FREQ_LOW;
  GPIO_InitStruct.Alternate = GPIO_AF4_I2C1;
  HAL_GPIO_Init(GPIOB, &GPIO_InitStruct);

  /*Configure GPIO pins : ULPI_D7_Pin ULPI_D6_Pin ULPI_D5_Pin ULPI_D3_Pin
                           ULPI_D2_Pin ULPI_D1_Pin ULPI_D4_Pin */
  GPIO_InitStruct.Pin = ULPI_D7_Pin|ULPI_D6_Pin|ULPI_D5_Pin|ULPI_D3_Pin
                          |ULPI_D2_Pin|ULPI_D1_Pin|ULPI_D4_Pin;
  GPIO_InitStruct.Mode = GPIO_MODE_AF_PP;
  GPIO_InitStruct.Pull = GPIO_NOPULL;
  GPIO_InitStruct.Speed = GPIO_SPEED_FREQ_VERY_HIGH;
  GPIO_InitStruct.Alternate = GPIO_AF10_OTG_HS;
  HAL_GPIO_Init(GPIOB, &GPIO_InitStruct);

  /*Configure GPIO pin : ARDUINO_PWM_D3_Pin */
  GPIO_InitStruct.Pin = ARDUINO_PWM_D3_Pin;
  GPIO_InitStruct.Mode = GPIO_MODE_AF_PP;
  GPIO_InitStruct.Pull = GPIO_NOPULL;
  GPIO_InitStruct.Speed = GPIO_SPEED_FREQ_LOW;
  GPIO_InitStruct.Alternate = GPIO_AF2_TIM3;
  HAL_GPIO_Init(ARDUINO_PWM_D3_GPIO_Port, &GPIO_InitStruct);

  /*Configure GPIO pin : SPDIF_RX0_Pin */
  GPIO_InitStruct.Pin = SPDIF_RX0_Pin;
  GPIO_InitStruct.Mode = GPIO_MODE_AF_PP;
  GPIO_InitStruct.Pull = GPIO_NOPULL;
  GPIO_InitStruct.Speed = GPIO_SPEED_FREQ_LOW;
  GPIO_InitStruct.Alternate = GPIO_AF8_SPDIFRX;
  HAL_GPIO_Init(SPDIF_RX0_GPIO_Port, &GPIO_InitStruct);

  /*Configure GPIO pins : SDMMC_CK_Pin SDMMC_D3_Pin SDMMC_D2_Pin PC9
                           PC8 */
  GPIO_InitStruct.Pin = SDMMC_CK_Pin|SDMMC_D3_Pin|SDMMC_D2_Pin|GPIO_PIN_9
                          |GPIO_PIN_8;
  GPIO_InitStruct.Mode = GPIO_MODE_AF_PP;
  GPIO_InitStruct.Pull = GPIO_NOPULL;
  GPIO_InitStruct.Speed = GPIO_SPEED_FREQ_VERY_HIGH;
  GPIO_InitStruct.Alternate = GPIO_AF12_SDMMC1;
  HAL_GPIO_Init(GPIOC, &GPIO_InitStruct);

  /*Configure GPIO pin : RST_Pin */
  GPIO_InitStruct.Pin = RST_Pin;
  GPIO_InitStruct.Mode = GPIO_MODE_OUTPUT_PP;
  GPIO_InitStruct.Pull = GPIO_NOPULL;
  GPIO_InitStruct.Speed = GPIO_SPEED_FREQ_LOW;
  HAL_GPIO_Init(RST_GPIO_Port, &GPIO_InitStruct);

  /*Configure GPIO pins : DCMI_D6_Pin DCMI_D7_Pin */
  GPIO_InitStruct.Pin = DCMI_D6_Pin|DCMI_D7_Pin;
  GPIO_InitStruct.Mode = GPIO_MODE_AF_PP;
  GPIO_InitStruct.Pull = GPIO_NOPULL;
  GPIO_InitStruct.Speed = GPIO_SPEED_FREQ_LOW;
  GPIO_InitStruct.Alternate = GPIO_AF13_DCMI;
  HAL_GPIO_Init(GPIOE, &GPIO_InitStruct);

  /*Configure GPIO pin : QSPI_NCS_Pin */
  GPIO_InitStruct.Pin = QSPI_NCS_Pin;
  GPIO_InitStruct.Mode = GPIO_MODE_AF_PP;
  GPIO_InitStruct.Pull = GPIO_NOPULL;
  GPIO_InitStruct.Speed = GPIO_SPEED_FREQ_VERY_HIGH;
  GPIO_InitStruct.Alternate = GPIO_AF10_QUADSPI;
  HAL_GPIO_Init(QSPI_NCS_GPIO_Port, &GPIO_InitStruct);

  /*Configure GPIO pins : FMC_SDNCAS_Pin FMC_SDCLK_Pin FMC_A11_Pin FMC_A10_Pin
                           FMC_BA1_Pin FMC_BA0_Pin */
  GPIO_InitStruct.Pin = FMC_SDNCAS_Pin|FMC_SDCLK_Pin|FMC_A11_Pin|FMC_A10_Pin
                          |FMC_BA1_Pin|FMC_BA0_Pin;
  GPIO_InitStruct.Mode = GPIO_MODE_AF_PP;
  GPIO_InitStruct.Pull = GPIO_NOPULL;
  GPIO_InitStruct.Speed = GPIO_SPEED_FREQ_VERY_HIGH;
  GPIO_InitStruct.Alternate = GPIO_AF12_FMC;
  HAL_GPIO_Init(GPIOG, &GPIO_InitStruct);

  /*Configure GPIO pins : LCD_B1_Pin LCD_B2_Pin LCD_B3_Pin LCD_G4_Pin
                           LCD_G1_Pin LCD_G3_Pin LCD_G0_Pin LCD_G2_Pin
                           LCD_R7_Pin LCD_R5_Pin LCD_R6_Pin LCD_R4_Pin
                           LCD_R3_Pin LCD_R1_Pin LCD_R2_Pin */
  GPIO_InitStruct.Pin = LCD_B1_Pin|LCD_B2_Pin|LCD_B3_Pin|LCD_G4_Pin
                          |LCD_G1_Pin|LCD_G3_Pin|LCD_G0_Pin|LCD_G2_Pin
                          |LCD_R7_Pin|LCD_R5_Pin|LCD_R6_Pin|LCD_R4_Pin
                          |LCD_R3_Pin|LCD_R1_Pin|LCD_R2_Pin;
  GPIO_InitStruct.Mode = GPIO_MODE_AF_PP;
  GPIO_InitStruct.Pull = GPIO_NOPULL;
  GPIO_InitStruct.Speed = GPIO_SPEED_FREQ_LOW;
  GPIO_InitStruct.Alternate = GPIO_AF14_LTDC;
  HAL_GPIO_Init(GPIOJ, &GPIO_InitStruct);

  /*Configure GPIO pin : OTG_FS_VBUS_Pin */
  GPIO_InitStruct.Pin = OTG_FS_VBUS_Pin;
  GPIO_InitStruct.Mode = GPIO_MODE_INPUT;
  GPIO_InitStruct.Pull = GPIO_NOPULL;
  HAL_GPIO_Init(OTG_FS_VBUS_GPIO_Port, &GPIO_InitStruct);

  /*Configure GPIO pin : Audio_INT_Pin */
  GPIO_InitStruct.Pin = Audio_INT_Pin;
  GPIO_InitStruct.Mode = GPIO_MODE_EVT_RISING;
  GPIO_InitStruct.Pull = GPIO_NOPULL;
  HAL_GPIO_Init(Audio_INT_GPIO_Port, &GPIO_InitStruct);

  /*Configure GPIO pins : FMC_D2_Pin FMC_D3_Pin FMC_D1_Pin FMC_D15_Pin
                           FMC_D0_Pin FMC_D14_Pin FMC_D13_Pin */
  GPIO_InitStruct.Pin = FMC_D2_Pin|FMC_D3_Pin|FMC_D1_Pin|FMC_D15_Pin
                          |FMC_D0_Pin|FMC_D14_Pin|FMC_D13_Pin;
  GPIO_InitStruct.Mode = GPIO_MODE_AF_PP;
  GPIO_InitStruct.Pull = GPIO_NOPULL;
  GPIO_InitStruct.Speed = GPIO_SPEED_FREQ_VERY_HIGH;
  GPIO_InitStruct.Alternate = GPIO_AF12_FMC;
  HAL_GPIO_Init(GPIOD, &GPIO_InitStruct);

  /*Configure GPIO pins : OTG_FS_P_Pin OTG_FS_N_Pin OTG_FS_ID_Pin */
  GPIO_InitStruct.Pin = OTG_FS_P_Pin|OTG_FS_N_Pin|OTG_FS_ID_Pin;
  GPIO_InitStruct.Mode = GPIO_MODE_AF_PP;
  GPIO_InitStruct.Pull = GPIO_NOPULL;
  GPIO_InitStruct.Speed = GPIO_SPEED_FREQ_VERY_HIGH;
  GPIO_InitStruct.Alternate = GPIO_AF10_OTG_FS;
  HAL_GPIO_Init(GPIOA, &GPIO_InitStruct);

  /*Configure GPIO pins : SAI2_MCLKA_Pin SAI2_SCKA_Pin SAI2_FSA_Pin SAI2_SDA_Pin */
  GPIO_InitStruct.Pin = SAI2_MCLKA_Pin|SAI2_SCKA_Pin|SAI2_FSA_Pin|SAI2_SDA_Pin;
  GPIO_InitStruct.Mode = GPIO_MODE_AF_PP;
  GPIO_InitStruct.Pull = GPIO_NOPULL;
  GPIO_InitStruct.Speed = GPIO_SPEED_FREQ_LOW;
  GPIO_InitStruct.Alternate = GPIO_AF10_SAI2;
  HAL_GPIO_Init(GPIOI, &GPIO_InitStruct);

  /*Configure GPIO pins : LCD_DE_Pin LCD_B7_Pin LCD_B6_Pin LCD_B5_Pin
                           LCD_G6_Pin LCD_G7_Pin LCD_G5_Pin */
  GPIO_InitStruct.Pin = LCD_DE_Pin|LCD_B7_Pin|LCD_B6_Pin|LCD_B5_Pin
                          |LCD_G6_Pin|LCD_G7_Pin|LCD_G5_Pin;
  GPIO_InitStruct.Mode = GPIO_MODE_AF_PP;
  GPIO_InitStruct.Pull = GPIO_NOPULL;
  GPIO_InitStruct.Speed = GPIO_SPEED_FREQ_LOW;
  GPIO_InitStruct.Alternate = GPIO_AF14_LTDC;
  HAL_GPIO_Init(GPIOK, &GPIO_InitStruct);

  /*Configure GPIO pin : LCD_B4_Pin */
  GPIO_InitStruct.Pin = LCD_B4_Pin;
  GPIO_InitStruct.Mode = GPIO_MODE_AF_PP;
  GPIO_InitStruct.Pull = GPIO_NOPULL;
  GPIO_InitStruct.Speed = GPIO_SPEED_FREQ_LOW;
  GPIO_InitStruct.Alternate = GPIO_AF9_LTDC;
  HAL_GPIO_Init(LCD_B4_GPIO_Port, &GPIO_InitStruct);

  /*Configure GPIO pin : SAI2_SDB_Pin */
  GPIO_InitStruct.Pin = SAI2_SDB_Pin;
  GPIO_InitStruct.Mode = GPIO_MODE_AF_PP;
  GPIO_InitStruct.Pull = GPIO_NOPULL;
  GPIO_InitStruct.Speed = GPIO_SPEED_FREQ_LOW;
  GPIO_InitStruct.Alternate = GPIO_AF10_SAI2;
  HAL_GPIO_Init(SAI2_SDB_GPIO_Port, &GPIO_InitStruct);

  /*Configure GPIO pin : OTG_FS_PowerSwitchOn_Pin */
  GPIO_InitStruct.Pin = OTG_FS_PowerSwitchOn_Pin;
  GPIO_InitStruct.Mode = GPIO_MODE_OUTPUT_PP;
  GPIO_InitStruct.Pull = GPIO_NOPULL;
  GPIO_InitStruct.Speed = GPIO_SPEED_FREQ_LOW;
  HAL_GPIO_Init(OTG_FS_PowerSwitchOn_GPIO_Port, &GPIO_InitStruct);

  /*Configure GPIO pin : DCMI_D5_Pin */
  GPIO_InitStruct.Pin = DCMI_D5_Pin;
  GPIO_InitStruct.Mode = GPIO_MODE_AF_PP;
  GPIO_InitStruct.Pull = GPIO_NOPULL;
  GPIO_InitStruct.Speed = GPIO_SPEED_FREQ_LOW;
  GPIO_InitStruct.Alternate = GPIO_AF13_DCMI;
  HAL_GPIO_Init(DCMI_D5_GPIO_Port, &GPIO_InitStruct);

  /*Configure GPIO pins : ARDUINO_D7_Pin LCD_DISP_Pin CS_Pin */
  GPIO_InitStruct.Pin = ARDUINO_D7_Pin|LCD_DISP_Pin|CS_Pin;
  GPIO_InitStruct.Mode = GPIO_MODE_OUTPUT_PP;
  GPIO_InitStruct.Pull = GPIO_NOPULL;
  GPIO_InitStruct.Speed = GPIO_SPEED_FREQ_LOW;
  HAL_GPIO_Init(GPIOI, &GPIO_InitStruct);

  /*Configure GPIO pin : DIO0_Pin */
  GPIO_InitStruct.Pin = DIO0_Pin;
  GPIO_InitStruct.Mode = GPIO_MODE_IT_RISING;
  GPIO_InitStruct.Pull = GPIO_NOPULL;
  HAL_GPIO_Init(DIO0_GPIO_Port, &GPIO_InitStruct);

  /*Configure GPIO pin : uSD_Detect_Pin */
  GPIO_InitStruct.Pin = uSD_Detect_Pin;
  GPIO_InitStruct.Mode = GPIO_MODE_INPUT;
  GPIO_InitStruct.Pull = GPIO_NOPULL;
  HAL_GPIO_Init(uSD_Detect_GPIO_Port, &GPIO_InitStruct);

  /*Configure GPIO pins : FMC_A0_Pin FMC_A1_Pin FMC_A2_Pin FMC_A3_Pin
                           FMC_A4_Pin FMC_A5_Pin FMC_A6_Pin FMC_A9_Pin
                           FMC_A7_Pin FMC_A8_Pin FMC_SDNRAS_Pin */
  GPIO_InitStruct.Pin = FMC_A0_Pin|FMC_A1_Pin|FMC_A2_Pin|FMC_A3_Pin
                          |FMC_A4_Pin|FMC_A5_Pin|FMC_A6_Pin|FMC_A9_Pin
                          |FMC_A7_Pin|FMC_A8_Pin|FMC_SDNRAS_Pin;
  GPIO_InitStruct.Mode = GPIO_MODE_AF_PP;
  GPIO_InitStruct.Pull = GPIO_NOPULL;
  GPIO_InitStruct.Speed = GPIO_SPEED_FREQ_VERY_HIGH;
  GPIO_InitStruct.Alternate = GPIO_AF12_FMC;
  HAL_GPIO_Init(GPIOF, &GPIO_InitStruct);

  /*Configure GPIO pins : LCD_HSYNC_Pin LCD_VSYNC_Pin LCD_R0_Pin LCD_CLK_Pin */
  GPIO_InitStruct.Pin = LCD_HSYNC_Pin|LCD_VSYNC_Pin|LCD_R0_Pin|LCD_CLK_Pin;
  GPIO_InitStruct.Mode = GPIO_MODE_AF_PP;
  GPIO_InitStruct.Pull = GPIO_NOPULL;
  GPIO_InitStruct.Speed = GPIO_SPEED_FREQ_LOW;
  GPIO_InitStruct.Alternate = GPIO_AF14_LTDC;
  HAL_GPIO_Init(GPIOI, &GPIO_InitStruct);

  /*Configure GPIO pin : LCD_BL_CTRL_Pin */
  GPIO_InitStruct.Pin = LCD_BL_CTRL_Pin;
  GPIO_InitStruct.Mode = GPIO_MODE_OUTPUT_PP;
  GPIO_InitStruct.Pull = GPIO_NOPULL;
  GPIO_InitStruct.Speed = GPIO_SPEED_FREQ_LOW;
  HAL_GPIO_Init(LCD_BL_CTRL_GPIO_Port, &GPIO_InitStruct);

  /*Configure GPIO pin : DCMI_VSYNC_Pin */
  GPIO_InitStruct.Pin = DCMI_VSYNC_Pin;
  GPIO_InitStruct.Mode = GPIO_MODE_AF_PP;
  GPIO_InitStruct.Pull = GPIO_NOPULL;
  GPIO_InitStruct.Speed = GPIO_SPEED_FREQ_LOW;
  GPIO_InitStruct.Alternate = GPIO_AF13_DCMI;
  HAL_GPIO_Init(DCMI_VSYNC_GPIO_Port, &GPIO_InitStruct);

  /*Configure GPIO pin : OTG_FS_OverCurrent_Pin */
  GPIO_InitStruct.Pin = OTG_FS_OverCurrent_Pin;
  GPIO_InitStruct.Mode = GPIO_MODE_INPUT;
  GPIO_InitStruct.Pull = GPIO_NOPULL;
  HAL_GPIO_Init(OTG_FS_OverCurrent_GPIO_Port, &GPIO_InitStruct);

  /*Configure GPIO pin : SDMMC_D0_Pin */
  GPIO_InitStruct.Pin = SDMMC_D0_Pin;
  GPIO_InitStruct.Mode = GPIO_MODE_AF_PP;
  GPIO_InitStruct.Pull = GPIO_NOPULL;
  GPIO_InitStruct.Speed = GPIO_SPEED_FREQ_VERY_HIGH;
  GPIO_InitStruct.Alternate = GPIO_AF12_SDMMC1;
  HAL_GPIO_Init(SDMMC_D0_GPIO_Port, &GPIO_InitStruct);

  /*Configure GPIO pins : TP3_Pin NC2_Pin */
  GPIO_InitStruct.Pin = TP3_Pin|NC2_Pin;
  GPIO_InitStruct.Mode = GPIO_MODE_INPUT;
  GPIO_InitStruct.Pull = GPIO_NOPULL;
  HAL_GPIO_Init(GPIOH, &GPIO_InitStruct);

  /*Configure GPIO pin : DCMI_PWR_EN_Pin */
  GPIO_InitStruct.Pin = DCMI_PWR_EN_Pin;
  GPIO_InitStruct.Mode = GPIO_MODE_OUTPUT_PP;
  GPIO_InitStruct.Pull = GPIO_NOPULL;
  GPIO_InitStruct.Speed = GPIO_SPEED_FREQ_LOW;
  HAL_GPIO_Init(DCMI_PWR_EN_GPIO_Port, &GPIO_InitStruct);

  /*Configure GPIO pins : DCMI_D4_Pin DCMI_D3_Pin DCMI_D0_Pin DCMI_D2_Pin
                           DCMI_D1_Pin */
  GPIO_InitStruct.Pin = DCMI_D4_Pin|DCMI_D3_Pin|DCMI_D0_Pin|DCMI_D2_Pin
                          |DCMI_D1_Pin;
  GPIO_InitStruct.Mode = GPIO_MODE_AF_PP;
  GPIO_InitStruct.Pull = GPIO_NOPULL;
  GPIO_InitStruct.Speed = GPIO_SPEED_FREQ_LOW;
  GPIO_InitStruct.Alternate = GPIO_AF13_DCMI;
  HAL_GPIO_Init(GPIOH, &GPIO_InitStruct);

  /*Configure GPIO pin : ARDUINO_PWM_D10_Pin */
  GPIO_InitStruct.Pin = ARDUINO_PWM_D10_Pin;
  GPIO_InitStruct.Mode = GPIO_MODE_AF_PP;
  GPIO_InitStruct.Pull = GPIO_NOPULL;
  GPIO_InitStruct.Speed = GPIO_SPEED_FREQ_LOW;
  GPIO_InitStruct.Alternate = GPIO_AF1_TIM1;
  HAL_GPIO_Init(ARDUINO_PWM_D10_GPIO_Port, &GPIO_InitStruct);

  /*Configure GPIO pin : LCD_INT_Pin */
  GPIO_InitStruct.Pin = LCD_INT_Pin;
  GPIO_InitStruct.Mode = GPIO_MODE_EVT_RISING;
  GPIO_InitStruct.Pull = GPIO_NOPULL;
  HAL_GPIO_Init(LCD_INT_GPIO_Port, &GPIO_InitStruct);

  /*Configure GPIO pins : ARDUINO_RX_D0_Pin ARDUINO_TX_D1_Pin */
  GPIO_InitStruct.Pin = ARDUINO_RX_D0_Pin|ARDUINO_TX_D1_Pin;
  GPIO_InitStruct.Mode = GPIO_MODE_AF_PP;
  GPIO_InitStruct.Pull = GPIO_NOPULL;
  GPIO_InitStruct.Speed = GPIO_SPEED_FREQ_VERY_HIGH;
  GPIO_InitStruct.Alternate = GPIO_AF8_USART6;
  HAL_GPIO_Init(GPIOC, &GPIO_InitStruct);

  /*Configure GPIO pin : ULPI_NXT_Pin */
  GPIO_InitStruct.Pin = ULPI_NXT_Pin;
  GPIO_InitStruct.Mode = GPIO_MODE_AF_PP;
  GPIO_InitStruct.Pull = GPIO_NOPULL;
  GPIO_InitStruct.Speed = GPIO_SPEED_FREQ_VERY_HIGH;
  GPIO_InitStruct.Alternate = GPIO_AF10_OTG_HS;
  HAL_GPIO_Init(ULPI_NXT_GPIO_Port, &GPIO_InitStruct);

  /*Configure GPIO pins : FMC_SDNME_Pin FMC_SDNE0_Pin */
  GPIO_InitStruct.Pin = FMC_SDNME_Pin|FMC_SDNE0_Pin;
  GPIO_InitStruct.Mode = GPIO_MODE_AF_PP;
  GPIO_InitStruct.Pull = GPIO_NOPULL;
  GPIO_InitStruct.Speed = GPIO_SPEED_FREQ_VERY_HIGH;
  GPIO_InitStruct.Alternate = GPIO_AF12_FMC;
  HAL_GPIO_Init(GPIOH, &GPIO_InitStruct);

  /*Configure GPIO pins : ARDUINO_D4_Pin ARDUINO_D2_Pin EXT_RST_Pin */
  GPIO_InitStruct.Pin = ARDUINO_D4_Pin|ARDUINO_D2_Pin|EXT_RST_Pin;
  GPIO_InitStruct.Mode = GPIO_MODE_OUTPUT_PP;
  GPIO_InitStruct.Pull = GPIO_NOPULL;
  GPIO_InitStruct.Speed = GPIO_SPEED_FREQ_LOW;
  HAL_GPIO_Init(GPIOG, &GPIO_InitStruct);

  /*Configure GPIO pins : ARDUINO_A4_Pin ARDUINO_A5_Pin ARDUINO_A1_Pin ARDUINO_A2_Pin
                           ARDUINO_A3_Pin */
  GPIO_InitStruct.Pin = ARDUINO_A4_Pin|ARDUINO_A5_Pin|ARDUINO_A1_Pin|ARDUINO_A2_Pin
                          |ARDUINO_A3_Pin;
  GPIO_InitStruct.Mode = GPIO_MODE_ANALOG;
  GPIO_InitStruct.Pull = GPIO_NOPULL;
  HAL_GPIO_Init(GPIOF, &GPIO_InitStruct);

  /*Configure GPIO pin : FMC_SDCKE0_Pin */
  GPIO_InitStruct.Pin = FMC_SDCKE0_Pin;
  GPIO_InitStruct.Mode = GPIO_MODE_AF_PP;
  GPIO_InitStruct.Pull = GPIO_NOPULL;
  GPIO_InitStruct.Speed = GPIO_SPEED_FREQ_VERY_HIGH;
  GPIO_InitStruct.Alternate = GPIO_AF12_FMC;
  HAL_GPIO_Init(FMC_SDCKE0_GPIO_Port, &GPIO_InitStruct);

  /*Configure GPIO pins : ULPI_STP_Pin ULPI_DIR_Pin */
  GPIO_InitStruct.Pin = ULPI_STP_Pin|ULPI_DIR_Pin;
  GPIO_InitStruct.Mode = GPIO_MODE_AF_PP;
  GPIO_InitStruct.Pull = GPIO_NOPULL;
  GPIO_InitStruct.Speed = GPIO_SPEED_FREQ_VERY_HIGH;
  GPIO_InitStruct.Alternate = GPIO_AF10_OTG_HS;
  HAL_GPIO_Init(GPIOC, &GPIO_InitStruct);

  /*Configure GPIO pins : RMII_MDC_Pin RMII_RXD0_Pin RMII_RXD1_Pin */
  GPIO_InitStruct.Pin = RMII_MDC_Pin|RMII_RXD0_Pin|RMII_RXD1_Pin;
  GPIO_InitStruct.Mode = GPIO_MODE_AF_PP;
  GPIO_InitStruct.Pull = GPIO_NOPULL;
  GPIO_InitStruct.Speed = GPIO_SPEED_FREQ_VERY_HIGH;
  GPIO_InitStruct.Alternate = GPIO_AF11_ETH;
  HAL_GPIO_Init(GPIOC, &GPIO_InitStruct);

  /*Configure GPIO pin : PB2 */
  GPIO_InitStruct.Pin = GPIO_PIN_2;
  GPIO_InitStruct.Mode = GPIO_MODE_AF_PP;
  GPIO_InitStruct.Pull = GPIO_NOPULL;
  GPIO_InitStruct.Speed = GPIO_SPEED_FREQ_VERY_HIGH;
  GPIO_InitStruct.Alternate = GPIO_AF9_QUADSPI;
  HAL_GPIO_Init(GPIOB, &GPIO_InitStruct);

  /*Configure GPIO pins : QSPI_D1_Pin QSPI_D3_Pin QSPI_D0_Pin */
  GPIO_InitStruct.Pin = QSPI_D1_Pin|QSPI_D3_Pin|QSPI_D0_Pin;
  GPIO_InitStruct.Mode = GPIO_MODE_AF_PP;
  GPIO_InitStruct.Pull = GPIO_NOPULL;
  GPIO_InitStruct.Speed = GPIO_SPEED_FREQ_VERY_HIGH;
  GPIO_InitStruct.Alternate = GPIO_AF9_QUADSPI;
  HAL_GPIO_Init(GPIOD, &GPIO_InitStruct);

  /*Configure GPIO pin : RMII_RXER_Pin */
  GPIO_InitStruct.Pin = RMII_RXER_Pin;
  GPIO_InitStruct.Mode = GPIO_MODE_INPUT;
  GPIO_InitStruct.Pull = GPIO_NOPULL;
  HAL_GPIO_Init(RMII_RXER_GPIO_Port, &GPIO_InitStruct);

  /*Configure GPIO pins : RMII_REF_CLK_Pin RMII_MDIO_Pin RMII_CRS_DV_Pin */
  GPIO_InitStruct.Pin = RMII_REF_CLK_Pin|RMII_MDIO_Pin|RMII_CRS_DV_Pin;
  GPIO_InitStruct.Mode = GPIO_MODE_AF_PP;
  GPIO_InitStruct.Pull = GPIO_NOPULL;
  GPIO_InitStruct.Speed = GPIO_SPEED_FREQ_VERY_HIGH;
  GPIO_InitStruct.Alternate = GPIO_AF11_ETH;
  HAL_GPIO_Init(GPIOA, &GPIO_InitStruct);

  /*Configure GPIO pin : ARDUINO_A0_Pin */
  GPIO_InitStruct.Pin = ARDUINO_A0_Pin;
  GPIO_InitStruct.Mode = GPIO_MODE_ANALOG;
  GPIO_InitStruct.Pull = GPIO_NOPULL;
  HAL_GPIO_Init(ARDUINO_A0_GPIO_Port, &GPIO_InitStruct);

  /*Configure GPIO pins : DCMI_HSYNC_Pin PA6 */
  GPIO_InitStruct.Pin = DCMI_HSYNC_Pin|GPIO_PIN_6;
  GPIO_InitStruct.Mode = GPIO_MODE_AF_PP;
  GPIO_InitStruct.Pull = GPIO_NOPULL;
  GPIO_InitStruct.Speed = GPIO_SPEED_FREQ_LOW;
  GPIO_InitStruct.Alternate = GPIO_AF13_DCMI;
  HAL_GPIO_Init(GPIOA, &GPIO_InitStruct);

  /*Configure GPIO pins : LCD_SCL_Pin LCD_SDA_Pin */
  GPIO_InitStruct.Pin = LCD_SCL_Pin|LCD_SDA_Pin;
  GPIO_InitStruct.Mode = GPIO_MODE_AF_OD;
  GPIO_InitStruct.Pull = GPIO_NOPULL;
  GPIO_InitStruct.Speed = GPIO_SPEED_FREQ_VERY_HIGH;
  GPIO_InitStruct.Alternate = GPIO_AF4_I2C3;
  HAL_GPIO_Init(GPIOH, &GPIO_InitStruct);

  /*Configure GPIO pins : ULPI_CLK_Pin ULPI_D0_Pin */
  GPIO_InitStruct.Pin = ULPI_CLK_Pin|ULPI_D0_Pin;
  GPIO_InitStruct.Mode = GPIO_MODE_AF_PP;
  GPIO_InitStruct.Pull = GPIO_NOPULL;
  GPIO_InitStruct.Speed = GPIO_SPEED_FREQ_VERY_HIGH;
  GPIO_InitStruct.Alternate = GPIO_AF10_OTG_HS;
  HAL_GPIO_Init(GPIOA, &GPIO_InitStruct);

  /*Configure GPIO pin : ARDUINO_PWM_D6_Pin */
  GPIO_InitStruct.Pin = ARDUINO_PWM_D6_Pin;
  GPIO_InitStruct.Mode = GPIO_MODE_AF_PP;
  GPIO_InitStruct.Pull = GPIO_NOPULL;
  GPIO_InitStruct.Speed = GPIO_SPEED_FREQ_LOW;
  GPIO_InitStruct.Alternate = GPIO_AF9_TIM12;
  HAL_GPIO_Init(ARDUINO_PWM_D6_GPIO_Port, &GPIO_InitStruct);

  /* EXTI interrupt init*/
  HAL_NVIC_SetPriority(EXTI2_IRQn, 0, 0);
  HAL_NVIC_EnableIRQ(EXTI2_IRQn);

}

void Error_Handler(void)
{
  __disable_irq();
  while (1)
  {
  }
}
//void HAL_GPIO_EXTI_Callback(uint16_t GPIO_Pin)
//{
//  if (GPIO_Pin == LORA_DIO0_PIN) {
//    LoRa_onDio0();
//  }
//}
